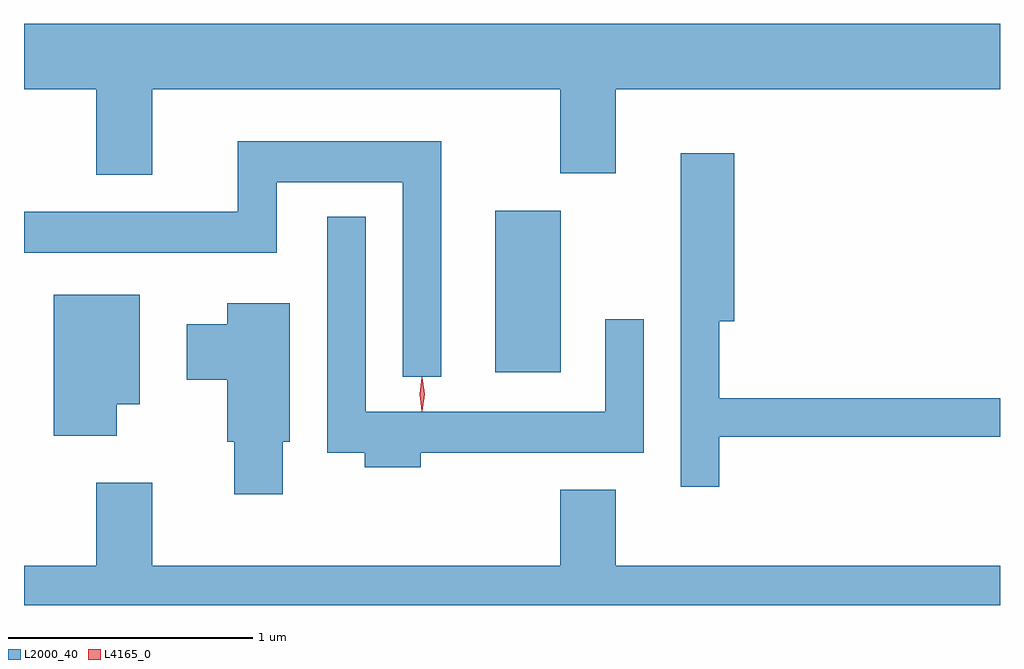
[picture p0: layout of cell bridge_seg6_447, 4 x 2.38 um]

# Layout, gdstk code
import gdstk
lib = gdstk.Library(unit=1e-6, precision=1e-09)
def R(c, l, rs):  # rectangles x0, y0, x1, y1
    for r in rs: c.add(gdstk.rectangle(r[:2], r[2:], *l))
def P(c, l, *ps):  # polygons
    for p in ps: c.add(gdstk.Polygon(p, *l))
L2000_40 = (2000, 40)
L4165_0 = (4165, 0)

bridge_seg6_447 = lib.new_cell('bridge_seg6_447')
R(bridge_seg6_447, L2000_40, [(706.616,1531.116,706.884,1531.779)])
P(bridge_seg6_447, L2000_40, [(705.209,1532.276),(706.881,1532.276),(706.881,1531.931),(707.109,1531.931),(707.109,1532.276),(708.684,1532.276),(708.684,1532.544),(704.684,1532.544),(704.684,1532.276),(704.981,1532.276),(704.981,1531.926),(705.209,1531.926)],
  [(706.394,1532.064),(705.561,1532.064),(705.561,1531.774),(704.684,1531.774),(704.684,1531.606),(705.719,1531.606),(705.719,1531.896),(706.236,1531.896),(706.236,1531.098),(706.394,1531.098)],
  [(707.534,1530.851),(708.684,1530.851),(708.684,1531.009),(707.534,1531.009),(707.534,1531.326),(707.594,1531.326),(707.594,1532.014),(707.376,1532.014),(707.376,1530.648),(707.534,1530.648)],
  [(706.309,1530.786),(707.224,1530.786),(707.224,1531.333),(707.066,1531.333),(707.066,1530.954),(706.084,1530.954),(706.084,1531.753),(705.926,1531.753),(705.926,1530.786),(706.081,1530.786),(706.081,1530.726),(706.309,1530.726)],
  [(705.064,1530.986),(705.159,1530.986),(705.159,1531.434),(704.806,1531.434),(704.806,1530.856),(705.064,1530.856)],
  [(705.744,1530.831),(705.774,1530.831),(705.774,1531.399),(705.516,1531.399),(705.516,1531.314),(705.351,1531.314),(705.351,1531.086),(705.516,1531.086),(705.516,1530.831),(705.546,1530.831),(705.546,1530.616),(705.744,1530.616)],
  [(708.684,1530.324),(707.109,1530.324),(707.109,1530.634),(706.881,1530.634),(706.881,1530.324),(705.209,1530.324),(705.209,1530.664),(704.981,1530.664),(704.981,1530.324),(704.684,1530.324),(704.684,1530.162),(708.684,1530.162)])
P(bridge_seg6_447, L4165_0, [(706.316,1530.959),(706.316,1530.96),(706.306,1531.026),(706.315,1531.092),(706.316,1531.093),(706.316,1531.092),(706.326,1531.026),(706.316,1530.96)],
  [(706.315,1530.957),(706.306,1531.027),(706.315,1531.096),(706.316,1531.096),(706.316,1531.096),(706.326,1531.027),(706.316,1530.957),(706.316,1530.957)])

lib.write_gds('bridge_seg6_447.gds')
